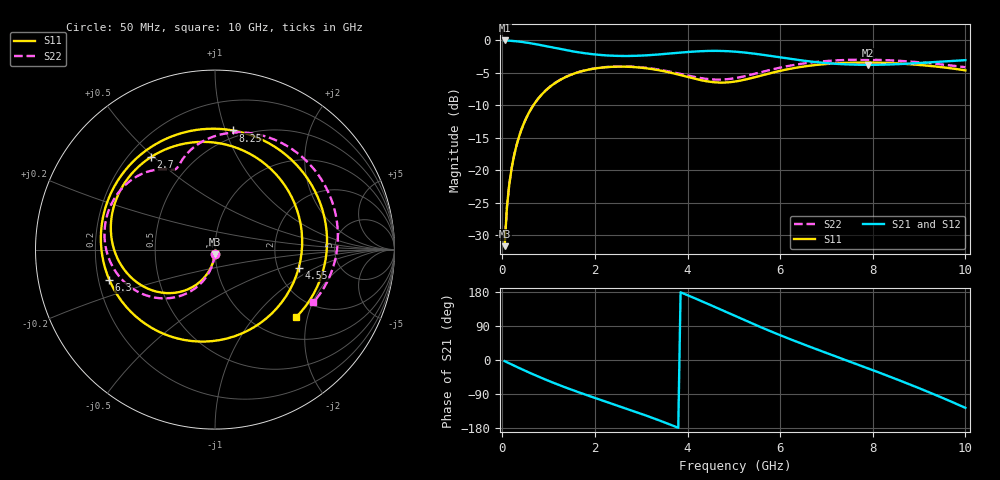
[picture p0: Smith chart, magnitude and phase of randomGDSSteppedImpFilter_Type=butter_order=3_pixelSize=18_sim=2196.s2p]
! freq	dB(S11)	phase(S11)	dB(S12)	phase(S12)
!  dB(S21)	phase(S21)	dB(S22)	phase(S22)
!S-par simulation data
#  GHz  S  DB  R 50
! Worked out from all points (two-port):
!   200 points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, 50 MHz to 10 GHz, reference 50 ohm
!   highest |S21| = -0.01 dB at 50 MHz (marker M1); lowest = -3.8 dB at 7.9 GHz (marker M2)
!   |S21| within 3 dB of the highest: start of sweep to 6.386 GHz
!   lowest |S11| = -31.7 dB at 50 MHz (marker M3), VSWR 1.05, Z = 49.8 - j2.59 ohm
!   |S11| at or under -10 dB: start of sweep to 671.1 MHz
!   |S22| runs from -31.7 to -3.0 dB; largest |S21 - S12| = 0
!   S11 on the Smith chart (normalised r, x): 50 MHz: 1.00, -0.05; 2.7 GHz: 0.29, +0.49; 4.55 GHz: 2.61, -0.70; 6.3 GHz: 0.24, -0.13; 8.25 GHz: 0.44, +1.06; 10 GHz: 1.47, -1.70
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0.05  -31.69 -93.2  -0.01 -3.0  -0.01 -3.0  -31.68 -92.9
0.1  -25.69 -96.5  -0.02 -5.9  -0.02 -5.9  -25.69 -95.8
0.2  -19.76 -102.9  -0.07 -11.7  -0.07 -11.7  -19.76 -101.5
0.5  -12.22 -121.2  -0.31 -28.7  -0.31 -28.7  -12.22 -117.5
1.05  -7.03 -152.1  -1.04 -57.5  -1.04 -57.5  -7.02 -144.0
1.75  -4.68 172.3  -1.94 -89.5  -1.94 -89.5  -4.67 -172.4
2.7  -4.05 124.9  -2.40 -129.2  -2.40 -129.2  -4.01 155.9
3.4  -4.62 83.7  -2.15 -159.9  -2.15 -159.9  -4.52 136.3
4.05  -5.71 34.5  -1.76 168.5  -1.76 168.5  -5.47 122.8
4.55  -6.42 -12.6  -1.61 142.1  -1.61 142.1  -6.01 117.2
5.05  -6.31 -63.2  -1.74 114.9  -1.74 114.9  -5.78 112.8
5.6  -5.39 -113.1  -2.19 85.7  -2.19 85.7  -4.86 103.8
6.3  -4.26 -164.1  -2.92 51.0  -2.92 51.0  -3.78 85.5
6.7  -3.84 171.0  -3.28 32.2  -3.28 32.2  -3.37 73.2
7.25  -3.51 139.0  -3.62 7.2  -3.62 7.2  -3.06 55.4
7.9  -3.41 102.0  -3.76 -22.2  -3.76 -22.2  -2.97 34.1
8.25  -3.46 81.4  -3.73 -38.4  -3.73 -38.4  -3.03 22.8
8.35  -3.49 75.4  -3.71 -43.1  -3.71 -43.1  -3.06 19.6
8.75  -3.64 50.4  -3.58 -62.1  -3.58 -62.1  -3.22 7.0
9.25  -3.94 16.7  -3.37 -86.9  -3.37 -86.9  -3.53 -7.9
9.65  -4.26 -12.4  -3.19 -107.5  -3.19 -107.5  -3.83 -19.1
10  -4.61 -39.9  -3.04 -126.2  -3.04 -126.2  -4.13 -28.2
